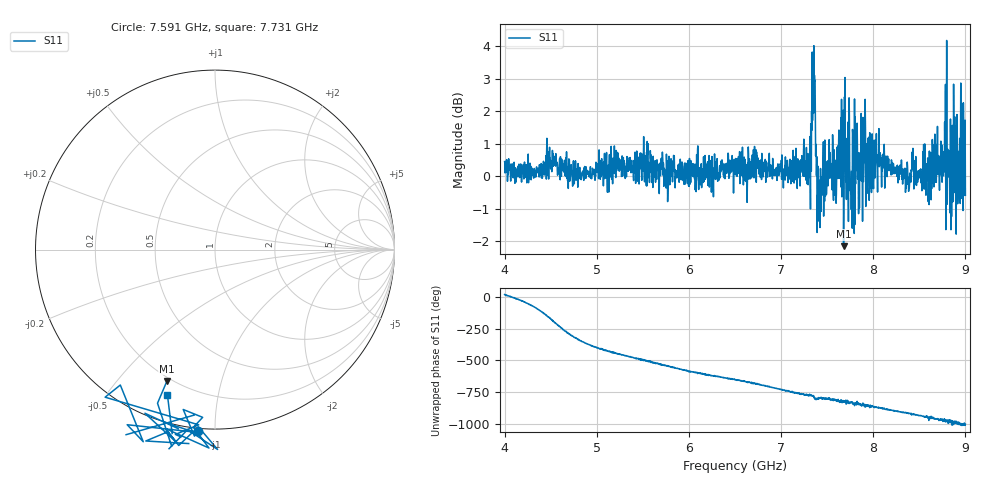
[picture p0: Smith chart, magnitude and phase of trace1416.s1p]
! Created with skrf 1.8.0 (http://scikit-rf.org).
# Hz S RI R 50.0
!freq ReS11 ImS11
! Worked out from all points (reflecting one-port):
!   1601 points, 4 GHz to 9 GHz, reference 50 ohm
!   lowest |S11| = -2.2 dB at 7.678 GHz (marker M1), VSWR 8.09, Z = 9.13 - j34.2 ohm
!   phase of S11 starts at 19 deg and turns -1025 deg over the sweep
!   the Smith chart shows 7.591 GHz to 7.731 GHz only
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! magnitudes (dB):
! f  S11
! 4 GHz  0.4
! 4.247 GHz  -0.1
! 4.625 GHz  0.3
! 5.25 GHz  0.3
! 5.875 GHz  0.1
! 6.5 GHz  0.1
! 7.125 GHz  0.2
! 7.294 GHz  -0.3
! 7.347 GHz  2.7
! 7.362 GHz  3.1
! 7.397 GHz  -1.4
! 7.416 GHz  -1.4
! 7.538 GHz  0.4
! 7.591 GHz  0.1
! 7.65 GHz  1.8
! 7.656 GHz  2.4
! 7.678 GHz  -2.2
! 7.75 GHz  -0.5
! 7.769 GHz  -0.9
! 7.8 GHz  -1.5
! 7.891 GHz  -0.1
! 8.375 GHz  0.0
! 8.441 GHz  -0.4
! 8.609 GHz  0.8
! 8.775 GHz  1.7
! 8.844 GHz  -1.7
! 8.972 GHz  0.7
! 9 GHz  -0.6
